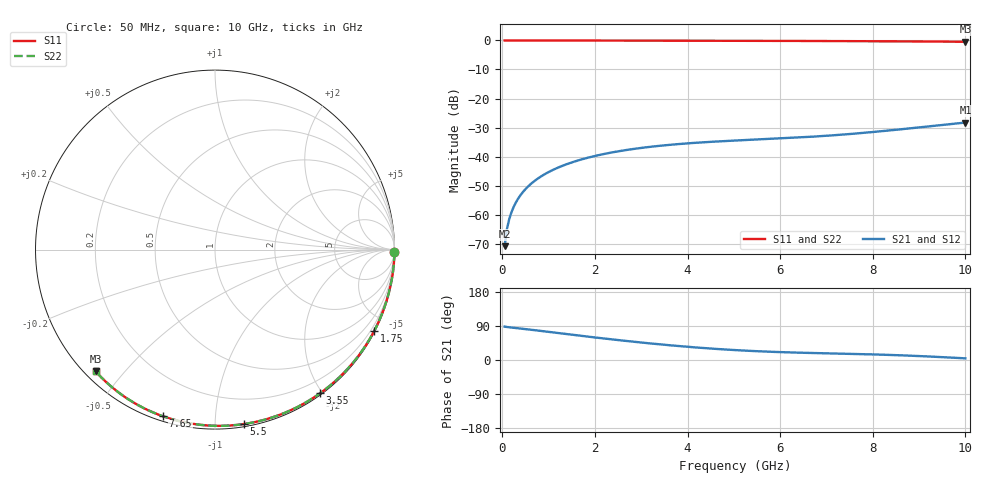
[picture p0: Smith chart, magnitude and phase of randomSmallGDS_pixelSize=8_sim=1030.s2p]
! freq	dB(S11)	phase(S11)	dB(S12)	phase(S12)
!  dB(S21)	phase(S21)	dB(S22)	phase(S22)
!S-par simulation data
#  GHz  S  DB  R 50
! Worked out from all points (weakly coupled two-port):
!   200 points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, 50 MHz to 10 GHz, reference 50 ohm
!   highest |S21| = -28.28 dB at 10 GHz (marker M1); lowest = -70.9 dB at 50 MHz (marker M2)
!   lowest |S11| = -0.4 dB at 10 GHz (marker M3), VSWR 39.04, Z = 1.51 - j21 ohm
!   |S11| at or under -10 dB: nowhere
!   |S22| runs from -0.4 to 0.0 dB; largest |S21 - S12| = 0
!   S11 on the Smith chart (normalised r, x): 50 MHz: open; 1.75 GHz: 0.04, -4.13; 3.55 GHz: 0.02, -1.97; 5.5 GHz: 0.02, -1.18; 7.65 GHz: 0.02, -0.74; 10 GHz: 0.03, -0.42
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0.05  -0.00 -0.8  -70.87 88.1  -70.87 88.1  -0.00 -0.8
0.1  -0.00 -1.6  -64.97 87.1  -64.97 87.1  -0.00 -1.6
0.15  -0.00 -2.4  -61.53 86.4  -61.53 86.4  -0.00 -2.4
0.2  -0.00 -3.2  -59.08 85.8  -59.08 85.8  -0.00 -3.2
0.25  -0.00 -4.0  -57.17 85.1  -57.17 85.1  -0.00 -4.0
0.35  -0.00 -5.5  -54.29 83.8  -54.29 83.8  -0.00 -5.5
0.5  -0.01 -7.9  -51.23 81.7  -51.23 81.7  -0.01 -7.9
0.7  -0.01 -11.0  -48.35 78.7  -48.35 78.7  -0.01 -11.0
1  -0.02 -15.7  -45.34 74.2  -45.34 74.2  -0.02 -15.7
1.35  -0.03 -21.1  -42.87 68.9  -42.87 68.9  -0.03 -21.1
1.75  -0.03 -27.2  -40.81 63.1  -40.81 63.1  -0.03 -27.2
2.5  -0.05 -38.5  -38.20 52.6  -38.20 52.6  -0.05 -38.5
3.4  -0.07 -51.7  -36.29 41.3  -36.29 41.3  -0.07 -51.7
3.55  -0.07 -53.9  -36.05 39.6  -36.05 39.6  -0.07 -53.9
4.3  -0.09 -64.4  -35.12 32.0  -35.12 32.0  -0.09 -64.4
5.05  -0.11 -74.6  -34.46 26.0  -34.46 26.0  -0.11 -74.6
5.5  -0.13 -80.5  -34.13 23.2  -34.13 23.2  -0.13 -80.5
6.7  -0.18 -95.8  -33.14 18.4  -33.14 18.4  -0.18 -95.8
7.65  -0.24 -107.3  -32.04 15.8  -32.04 15.8  -0.24 -107.3
8.35  -0.29 -115.5  -31.01 13.5  -31.01 13.5  -0.29 -115.5
9.2  -0.36 -125.3  -29.63 9.4  -29.63 9.4  -0.36 -125.3
10  -0.45 -134.4  -28.28 4.3  -28.28 4.3  -0.45 -134.4
